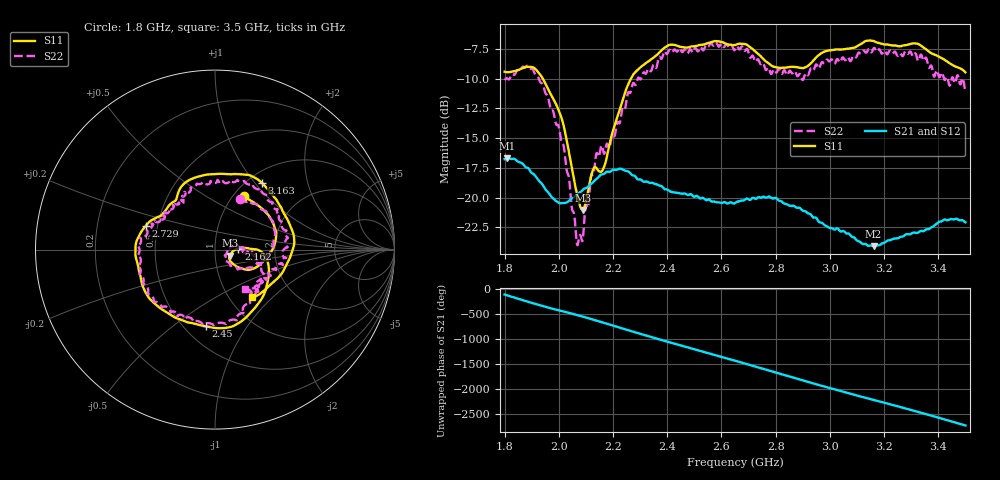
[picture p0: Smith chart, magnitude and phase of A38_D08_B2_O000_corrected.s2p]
! Created with skrf 1.9.0 (http://scikit-rf.org).
# Hz S RI R 50.0
!freq ReS11 ImS11 ReS21 ImS21 ReS12 ImS12 ReS22 ImS22
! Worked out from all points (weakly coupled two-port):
!   1601 points, 1.8 GHz to 3.5 GHz, reference 50 ohm
!   highest |S21| = -16.68 dB at 1.811 GHz (marker M1); lowest = -24.1 dB at 3.161 GHz (marker M2)
!   lowest |S11| = -21.0 dB at 2.088 GHz (marker M3), VSWR 1.19, Z = 58.8 - j3.93 ohm
!   |S11| at or under -10 dB: 1.941 GHz to 2.266 GHz (324.5 MHz wide, 15.4 % of centre)
!   |S22| runs from -24.0 to -6.9 dB; largest |S21 - S12| = 0.0028
!   S11 on the Smith chart (normalised r, x): 1.8 GHz: 1.12, +0.75; 2.162 GHz: 1.30, +0.01; 2.45 GHz: 0.63, -0.66; 2.729 GHz: 0.43, +0.14; 3.163 GHz: 1.16, +1.09; 3.5 GHz: 1.27, -0.76
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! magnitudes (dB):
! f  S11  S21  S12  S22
! 1.8 GHz  -9.4  -16.8  -16.8  -10.1
! 1.811 GHz  -9.5  -16.7  -16.7  -10.0
! 1.885 GHz  -9.0  -17.5  -17.6  -8.9
! 1.941 GHz  -10.0  -19.0  -19.0  -10.5
! 2.011 GHz  -13.4  -20.5  -20.5  -15.4
! 2.066 GHz  -19.6  -19.7  -19.8  -23.7
! 2.084 GHz  -21.0  -19.5  -19.4  -23.5
! 2.088 GHz  -21.0  -19.4  -19.4  -23.6
! 2.135 GHz  -17.4  -18.5  -18.5  -16.8
! 2.162 GHz  -17.7  -18.0  -18.0  -15.9
! 2.263 GHz  -10.1  -17.9  -17.9  -11.2
! 2.367 GHz  -7.9  -19.0  -18.9  -8.3
! 2.45 GHz  -7.3  -19.7  -19.7  -7.6
! 2.65 GHz  -7.2  -20.5  -20.4  -7.5
! 2.729 GHz  -7.8  -20.1  -20.1  -8.5
! 2.807 GHz  -9.1  -20.2  -20.2  -9.3
! 2.934 GHz  -8.6  -21.5  -21.5  -9.2
! 3.161 GHz  -6.8  -24.1  -24.0  -7.4
! 3.163 GHz  -6.8  -24.1  -24.1  -7.4
! 3.217 GHz  -7.1  -23.6  -23.6  -7.7
! 3.324 GHz  -7.1  -23.0  -22.9  -8.4
! 3.5 GHz  -9.5  -22.1  -22.1  -11.1
